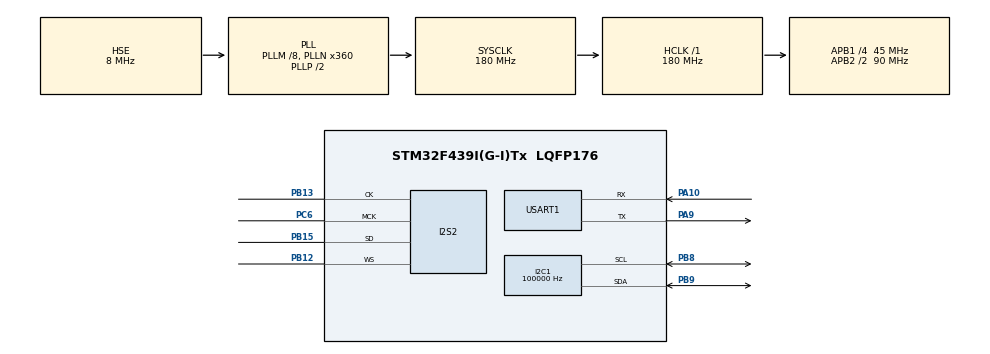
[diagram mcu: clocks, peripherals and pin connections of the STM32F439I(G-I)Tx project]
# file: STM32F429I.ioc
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Dma.Request0=SPI2_TX
Dma.SPI2_TX.0.Channel=DMA_CHANNEL_0
Dma.SPI2_TX.0.Direction=DMA_MEMORY_TO_PERIPH
Dma.SPI2_TX.0.FIFOMode=DMA_FIFOMODE_ENABLE
Dma.SPI2_TX.0.FIFOThreshold=DMA_FIFO_THRESHOLD_HALFFULL
Dma.SPI2_TX.0.Instance=DMA1_Stream4
Dma.SPI2_TX.0.MemBurst=DMA_MBURST_SINGLE
Dma.SPI2_TX.0.MemDataAlignment=DMA_MDATAALIGN_HALFWORD
Dma.SPI2_TX.0.MemInc=DMA_MINC_ENABLE
Dma.SPI2_TX.0.Mode=DMA_NORMAL
Dma.SPI2_TX.0.PeriphBurst=DMA_PBURST_SINGLE
Dma.SPI2_TX.0.PeriphDataAlignment=DMA_PDATAALIGN_HALFWORD
Dma.SPI2_TX.0.PeriphInc=DMA_PINC_DISABLE
Dma.SPI2_TX.0.Priority=DMA_PRIORITY_HIGH
I2C1.ClockSpeed=100000
I2C1.I2C_Mode=I2C_Standard
I2C1.OwnAddress=0
I2S2.AudioFreq=I2S_AUDIOFREQ_44K
I2S2.ErrorAudioFreq=0.19 %
I2S2.RealAudioFreq=44.084 KHz
Mcu.Family=STM32F4
Mcu.Name=STM32F439I(G-I)Tx
Mcu.Package=LQFP176
NVIC.DMA1_Stream4_IRQn=true\:0\:0\:false
NVIC.PriorityGroup=NVIC_PRIORITYGROUP_4
NVIC.SPI2_IRQn=true\:0\:0\:false
PA10.Mode=Asynchronous
PA10.Signal=USART1_RX
PA9.Mode=Asynchronous
PA9.Signal=USART1_TX
PB12.Mode=Half_Duplex_Master
PB12.Signal=I2S2_WS
PB13.Mode=Half_Duplex_Master
PB13.Signal=I2S2_CK
PB15.Mode=Half_Duplex_Master
PB15.Signal=I2S2_SD
PB8.GPIO_PuPdOD=GPIO_NOPULL
PB8.Mode=I2C
PB8.Signal=I2C1_SCL
PB9.GPIO_PuPdOD=GPIO_NOPULL
PB9.Mode=I2C
PB9.Signal=I2C1_SDA
PC6.Mode=Master_Clock_Activated
PC6.Signal=I2S2_MCK
PH0/OSC_IN.Mode=HSE-External-Oscillator
PH0/OSC_IN.Signal=RCC_OSC_IN
PH1/OSC_OUT.Mode=HSE-External-Oscillator
PH1/OSC_OUT.Signal=RCC_OSC_OUT
ProjectManager.TargetToolchain=MDK-ARM V5
RCC.48MHZClocksFreq_Value=90000000
RCC.AHBFreq_Value=180000000
RCC.APB1CLKDivider=RCC_HCLK_DIV4
RCC.APB1Freq_Value=45000000
RCC.APB1TimFreq_Value=90000000
RCC.APB2CLKDivider=RCC_HCLK_DIV2
RCC.APB2Freq_Value=90000000
RCC.APB2TimFreq_Value=180000000
RCC.CortexFreq_Value=180000000
RCC.HCLKFreq_Value=180000000
RCC.HSE_VALUE=8000000
RCC.HSI_VALUE=16000000
RCC.LSE_VALUE=32768
RCC.PLLI2SN=316
RCC.PLLI2SR=7
RCC.PLLM=8
RCC.PLLN=360
RCC.PLLSourceVirtual=RCC_PLLSOURCE_HSE
RCC.SYSCLKFreq_VALUE=180000000
RCC.SYSCLKSource=RCC_SYSCLKSOURCE_PLLCLK
RCC.VCOOutputFreq_Value=360000000
board=STM32F429I

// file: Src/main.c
/**
  ******************************************************************************
  * File Name          : main.c
  * Description        : Main program body
  ******************************************************************************
  *
  * COPYRIGHT(c) 2015 STMicroelectronics
  *
  * Redistribution and use in source and binary forms, with or without modification,
  * are permitted provided that the following conditions are met:
  *   1. Redistributions of source code must retain the above copyright notice,
  *      this list of conditions and the following disclaimer.
  *   2. Redistributions in binary form must reproduce the above copyright notice,
  *      this list of conditions and the following disclaimer in the documentation
  *      and/or other materials provided with the distribution.
  *   3. Neither the name of STMicroelectronics nor the names of its contributors
  *      may be used to endorse or promote products derived from this software
  *      without specific prior written permission.
  *
  * THIS SOFTWARE IS PROVIDED BY THE COPYRIGHT HOLDERS AND CONTRIBUTORS "AS IS"
  * AND ANY EXPRESS OR IMPLIED WARRANTIES, INCLUDING, BUT NOT LIMITED TO, THE
  * IMPLIED WARRANTIES OF MERCHANTABILITY AND FITNESS FOR A PARTICULAR PURPOSE ARE
  * DISCLAIMED. IN NO EVENT SHALL THE COPYRIGHT HOLDER OR CONTRIBUTORS BE LIABLE
  * FOR ANY DIRECT, INDIRECT, INCIDENTAL, SPECIAL, EXEMPLARY, OR CONSEQUENTIAL
  * DAMAGES (INCLUDING, BUT NOT LIMITED TO, PROCUREMENT OF SUBSTITUTE GOODS OR
  * SERVICES; LOSS OF USE, DATA, OR PROFITS; OR BUSINESS INTERRUPTION) HOWEVER
  * CAUSED AND ON ANY THEORY OF LIABILITY, WHETHER IN CONTRACT, STRICT LIABILITY,
  * OR TORT (INCLUDING NEGLIGENCE OR OTHERWISE) ARISING IN ANY WAY OUT OF THE USE
  * OF THIS SOFTWARE, EVEN IF ADVISED OF THE POSSIBILITY OF SUCH DAMAGE.
  *
  ******************************************************************************
  */
#include "stm32f4xx_hal.h"
#include "dma.h"
#include "i2c.h"
#include "i2s.h"
#include "usart.h"
#include "gpio.h"

/* USER CODE BEGIN Includes */
#include "waveDate.h"
#include "UDA1380.h"
/* USER CODE END Includes */

/* USER CODE BEGIN PV */
/* Private variables ---------------------------------------------------------*/
#include "UDA1380.h"
extern uint32_t AudioRemSize;    /* This variable holds the remaining data in audio file */
extern uint16_t *CurrentPos;    /* This variable holds the current position of audio pointer */
uint32_t WaveDataLength=0;
uint8_t XferCplt;
/* USER CODE END PV */

void SystemClock_Config(void);

/* USER CODE BEGIN PFP */
/* Private function prototypes -----------------------------------------------*/

/* USER CODE END PFP */

int main(void)
{

  /* MCU Configuration----------------------------------------------------------*/

  /* Reset of all peripherals, Initializes the Flash interface and the Systick. */
  HAL_Init();

  /* Configure the system clock */
  SystemClock_Config();

  /* Initialize all configured peripherals */
  MX_GPIO_Init();
  MX_DMA_Init();
  MX_I2C1_Init();
  MX_I2S2_Init();
  MX_USART1_UART_Init();

  /* USER CODE BEGIN 2 */
  printf("\r\nWelcome to use UDA1380 I2S test:\r\n");
	HAL_Delay(200);
	WaveDataLength = sizeof(WaveData) - AUIDO_START_ADDRESS;
	printf("WaveDataLength:%d\r\n",WaveDataLength);
	AudioFlashPlay((uint16_t*)(WaveData + AUIDO_START_ADDRESS),WaveDataLength,AUIDO_START_ADDRESS);
  if(UDA1380_Init() == HAL_OK)
	{
		printf("UDA1380 Init OK!\r\n\r\n");
	}
	else
	{
		printf("UDA1380 Init ERORR\r\n\r\n");
	}
  /* USER CODE END 2 */

  /* Infinite loop */
  while (1)
  {

  /* USER CODE BEGIN 3 */
		while(!XferCplt)
		{
			HAL_Delay(10);
		}
		XferCplt=0;
		AudioFlashPlay((uint16_t*)(WaveData + AUIDO_START_ADDRESS),WaveDataLength,AUIDO_START_ADDRESS);
  }
  /* USER CODE END 3 */

}

/** System Clock Configuration
*/
void SystemClock_Config(void)
{

  RCC_OscInitTypeDef RCC_OscInitStruct;
  RCC_ClkInitTypeDef RCC_ClkInitStruct;
  RCC_PeriphCLKInitTypeDef PeriphClkInitStruct;

  __PWR_CLK_ENABLE();

  __HAL_PWR_VOLTAGESCALING_CONFIG(PWR_REGULATOR_VOLTAGE_SCALE1);

  RCC_OscInitStruct.OscillatorType = RCC_OSCILLATORTYPE_HSE;
  RCC_OscInitStruct.HSEState = RCC_HSE_ON;
  RCC_OscInitStruct.PLL.PLLState = RCC_PLL_ON;
  RCC_OscInitStruct.PLL.PLLSource = RCC_PLLSOURCE_HSE;
  RCC_OscInitStruct.PLL.PLLM = 8;
  RCC_OscInitStruct.PLL.PLLN = 360;
  RCC_OscInitStruct.PLL.PLLP = RCC_PLLP_DIV2;
  RCC_OscInitStruct.PLL.PLLQ = 4;
  HAL_RCC_OscConfig(&RCC_OscInitStruct);

  HAL_PWREx_ActivateOverDrive();

  RCC_ClkInitStruct.ClockType = RCC_CLOCKTYPE_SYSCLK|RCC_CLOCKTYPE_PCLK1
                              |RCC_CLOCKTYPE_PCLK2;
  RCC_ClkInitStruct.SYSCLKSource = RCC_SYSCLKSOURCE_PLLCLK;
  RCC_ClkInitStruct.AHBCLKDivider = RCC_SYSCLK_DIV1;
  RCC_ClkInitStruct.APB1CLKDivider = RCC_HCLK_DIV4;
  RCC_ClkInitStruct.APB2CLKDivider = RCC_HCLK_DIV2;
  HAL_RCC_ClockConfig(&RCC_ClkInitStruct, FLASH_LATENCY_5);

  PeriphClkInitStruct.PeriphClockSelection = RCC_PERIPHCLK_I2S;
  PeriphClkInitStruct.PLLI2S.PLLI2SN = 316;
  PeriphClkInitStruct.PLLI2S.PLLI2SR = 7;
  HAL_RCCEx_PeriphCLKConfig(&PeriphClkInitStruct);

  HAL_SYSTICK_Config(HAL_RCC_GetHCLKFreq()/1000);

  HAL_SYSTICK_CLKSourceConfig(SYSTICK_CLKSOURCE_HCLK);

  /* SysTick_IRQn interrupt configuration */
  HAL_NVIC_SetPriority(SysTick_IRQn, 0, 0);
}

/* USER CODE BEGIN 4 */

/**
  * @brief Tx Transfer completed callbacks
  * @param hi2s: I2S handle
  * @retval None
  */
void HAL_I2S_TxCpltCallback(I2S_HandleTypeDef *hi2s)
{
  /* Manage the remaining file size and new address offset: */

  /* Check if the end of file has been reached */
	if (AudioRemSize > 0)
	{
		/* Update the Media layer and enable it for play */
		HAL_I2S_Transmit_DMA(&hi2s2,CurrentPos ,(uint16_t)(DMA_MAX(AudioRemSize)));

		/* Update the remaining number of data to be played */
		AudioRemSize = AudioRemSize - DMA_MAX(AudioRemSize);

		/* Update the current audio pointer position */
		CurrentPos = CurrentPos + DMA_MAX(AudioRemSize);

		printf("AudioRemSize:%d\r\n",AudioRemSize);
	}
	else
	{
		XferCplt = 1;
		printf("Data transmission to complete.\r\n\r\n");
	}
}

/**
  * @brief  I2S error callbacks.
  * @param  hi2s: I2S handle
  * @retval None
  */
void HAL_I2S_ErrorCallback(I2S_HandleTypeDef *hi2s)
{
  /* printf error message  */
  printf("\r\n     DMA  ERROR     \r\n");

  /* Stop the program with an infinite loop */
  while (1)
  {}
}
/* USER CODE END 4 */

/************************ (C) COPYRIGHT STMicroelectronics *****END OF FILE****/
